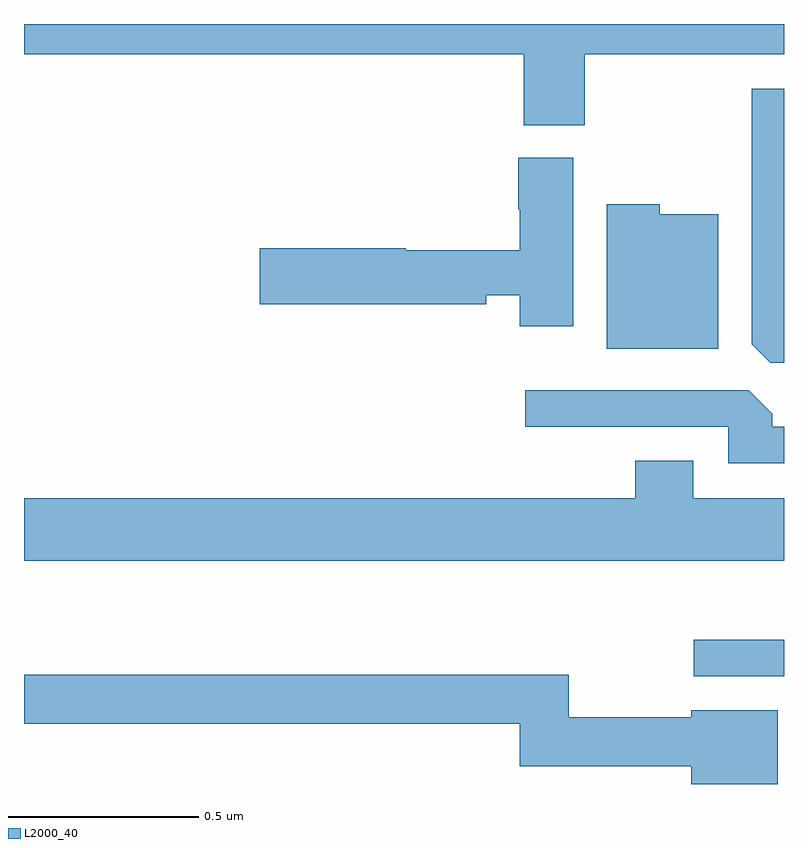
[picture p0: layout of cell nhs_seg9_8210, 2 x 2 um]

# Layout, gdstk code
import gdstk
lib = gdstk.Library(unit=1e-6, precision=1e-09)
def R(c, l, rs):  # rectangles x0, y0, x1, y1
    for r in rs: c.add(gdstk.rectangle(r[:2], r[2:], *l))
def P(c, l, *ps):  # polygons
    for p in ps: c.add(gdstk.Polygon(p, *l))
L2000_40 = (2000, 40)

nhs_seg9_8210 = lib.new_cell('nhs_seg9_8210')
R(nhs_seg9_8210, L2000_40, [(215.763,1194.783,216,1194.879)])
P(nhs_seg9_8210, L2000_40, [(215.475,1196.42),(216,1196.42),(216,1196.5),(214,1196.5),(214,1196.42),(215.315,1196.42),(215.315,1196.233),(215.475,1196.233)],
  [(216,1196.329),(215.915,1196.329),(215.915,1195.657),(215.964,1195.608),(216,1195.608)],
  [(215.446,1196.148),(215.3,1196.148),(215.3,1196.012),(215.305,1196.012),(215.305,1195.904),(215.004,1195.904),(215.004,1195.91),(214.62,1195.91),(214.62,1195.763),(215.216,1195.763),(215.216,1195.786),(215.305,1195.786),(215.305,1195.704),(215.446,1195.704)],
  [(215.827,1195.999),(215.673,1195.999),(215.673,1196.026),(215.534,1196.026),(215.534,1195.646),(215.827,1195.646)],
  [(216,1195.44),(215.969,1195.44),(215.969,1195.474),(215.907,1195.536),(215.319,1195.536),(215.319,1195.44),(215.853,1195.44),(215.853,1195.344),(216,1195.344)],
  [(216,1195.252),(215.761,1195.252),(215.761,1195.351),(215.609,1195.351),(215.609,1195.252),(214,1195.252),(214,1195.088),(216,1195.088)],
  [(215.983,1194.694),(215.756,1194.694),(215.756,1194.676),(215.434,1194.676),(215.434,1194.787),(214,1194.787),(214,1194.658),(215.305,1194.658),(215.305,1194.547),(215.756,1194.547),(215.756,1194.5),(215.983,1194.5)])

lib.write_gds('nhs_seg9_8210.gds')
